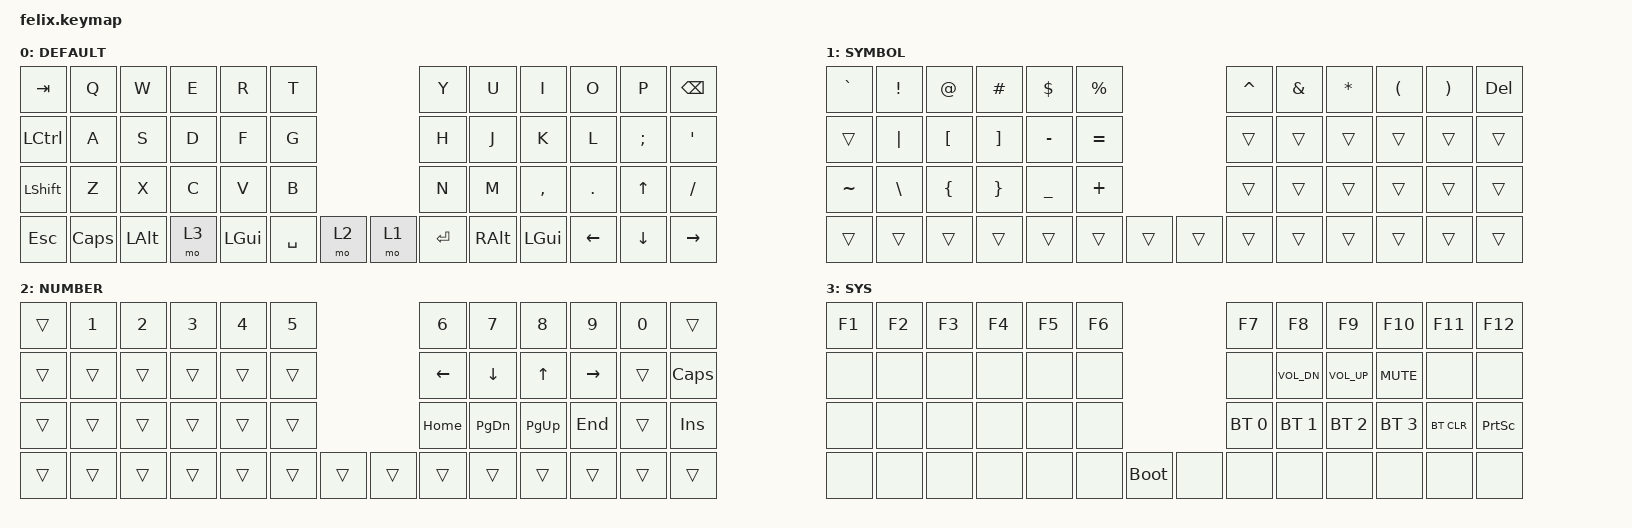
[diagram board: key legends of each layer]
/*
 * Copyright (c) 2020 The ZMK Contributors
 *
 * SPDX-License-Identifier: MIT
 */

#include <behaviors.dtsi>
#include <dt-bindings/zmk/bt.h>
#include <dt-bindings/zmk/keys.h>

#define DEFAULT 0
#define SYMBOL  1
#define NUMBER  2
#define SYS     3

/ {
    combos {
        compatible = "zmk,combos";

        caps_word {
            bindings = <&caps_word>;
            key-positions = <17 18>;
        };

        alt_f4 {
            bindings = <&kp LA(F4)>;
            key-positions = <1 28>;
        };

        toggle_jp {
            bindings = <&kp LC(GRAVE)>;
            key-positions = <25 28>;
        };
    };

    keymap {
        compatible = "zmk,keymap";

        default_layer {
            bindings = <
&kp TAB    &kp Q     &kp W     &kp E  &kp R     &kp T                    &kp Y      &kp U     &kp I      &kp O       &kp P          &kp BACKSPACE
&kp LCTRL  &kp A     &kp S     &kp D  &kp F     &kp G                    &kp H      &kp J     &kp K      &kp L       &kp SEMICOLON  &kp SQT
&kp LSHFT  &kp Z     &kp X     &kp C  &kp V     &kp B                    &kp N      &kp M     &kp COMMA  &kp PERIOD  &kp UP         &kp SLASH
&kp ESC    &kp CAPS  &kp LALT  &mo 3  &kp LGUI  &kp SPACE  &mo 2  &mo 1  &kp ENTER  &kp RALT  &kp LGUI   &kp LEFT    &kp DOWN       &kp RIGHT
            >;

            label = "DEFAULT";
        };

        symbol_layer {
            bindings = <
&kp GRAVE  &kp EXCL  &kp AT          &kp HASH         &kp DLLR   &kp PRCNT                  &kp CARET  &kp AMPS  &kp ASTRK  &kp LPAR  &kp RPAR  &kp DEL
&trans     &kp PIPE  &kp LBKT        &kp RBKT         &kp MINUS  &kp EQUAL                  &trans     &trans    &trans     &trans    &trans    &trans
&kp TILDE  &kp BSLH  &kp LEFT_BRACE  &kp RIGHT_BRACE  &kp UNDER  &kp PLUS                   &trans     &trans    &trans     &trans    &trans    &trans
&trans     &trans    &trans          &trans           &trans     &trans     &trans  &trans  &trans     &trans    &trans     &trans    &trans    &trans
            >;

            label = "SYMBOL";
        };

        number_layer {
            bindings = <
&trans  &kp N1  &kp N2  &kp N3  &kp N4  &kp N5                  &kp N6    &kp N7         &kp N8       &kp N9     &kp N0  &trans
&trans  &trans  &trans  &trans  &trans  &trans                  &kp LEFT  &kp DOWN       &kp UP       &kp RIGHT  &trans  &kp CAPS
&trans  &trans  &trans  &trans  &trans  &trans                  &kp HOME  &kp PAGE_DOWN  &kp PAGE_UP  &kp END    &trans  &kp INS
&trans  &trans  &trans  &trans  &trans  &trans  &trans  &trans  &trans    &trans         &trans       &trans     &trans  &trans
            >;

            label = "NUMBER";
        };

        sys_layer {
            bindings = <
&kp F1  &kp F2  &kp F3  &kp F4  &kp F5  &kp F6                      &kp F7        &kp F8        &kp F9        &kp F10       &kp F11     &kp F12
&none   &none   &none   &none   &none   &none                       &none         &kp C_VOL_DN  &kp C_VOL_UP  &kp K_MUTE    &none       &none
&none   &none   &none   &none   &none   &none                       &bt BT_SEL 0  &bt BT_SEL 1  &bt BT_SEL 2  &bt BT_SEL 3  &bt BT_CLR  &kp PRINTSCREEN
&none   &none   &none   &none   &none   &none   &bootloader  &none  &none         &none         &none         &none         &none       &none
            >;

            label = "SYS";
        };
    };
};
